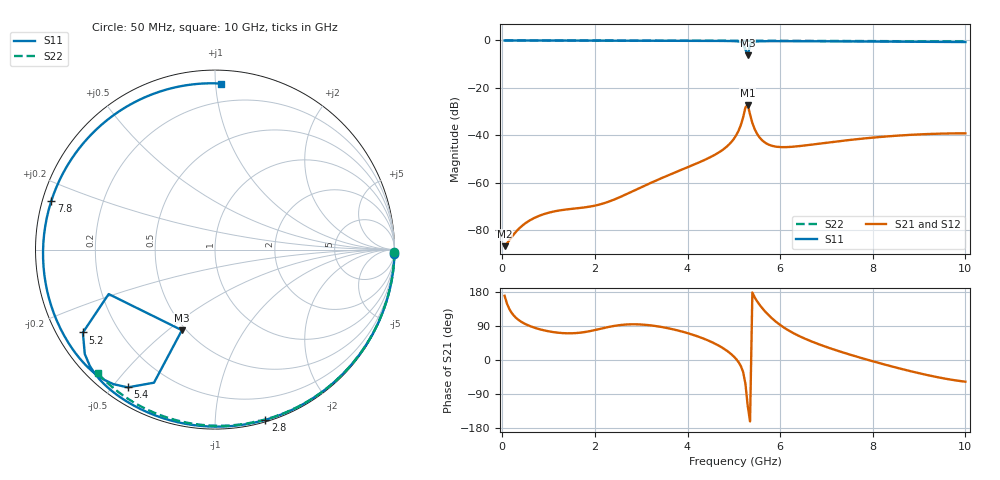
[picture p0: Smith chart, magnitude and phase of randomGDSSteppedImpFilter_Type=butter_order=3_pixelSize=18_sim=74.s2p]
! freq	dB(S11)	phase(S11)	dB(S12)	phase(S12)
!  dB(S21)	phase(S21)	dB(S22)	phase(S22)
!S-par simulation data
#  GHz  S  DB  R 50
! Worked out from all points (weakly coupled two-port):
!   200 points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, 50 MHz to 10 GHz, reference 50 ohm
!   highest |S21| = -27.13 dB at 5.3 GHz (marker M1); lowest = -86.7 dB at 50 MHz (marker M2)
!   lowest |S11| = -6.3 dB at 5.3 GHz (marker M3), VSWR 2.89, Z = 23.8 - j28 ohm
!   |S11| at or under -10 dB: nowhere
!   |S22| runs from -0.5 to 0.0 dB; largest |S21 - S12| = 0
!   S11 on the Smith chart (normalised r, x): 50 MHz: 0, -84; 2.8 GHz: 0.02, -1.34; 5.2 GHz: 0.08, -0.29; 5.4 GHz: 0.06, -0.55; 7.8 GHz: 0.03, +0.15; 10 GHz: 0.08, +1.03
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0.05  -0.00 -1.4  -86.67 169.5  -86.67 169.5  -0.00 -0.8
0.3  -0.00 -8.2  -80.49 110.8  -80.49 110.8  -0.00 -4.6
0.95  -0.03 -25.7  -72.85 76.9  -72.85 76.9  -0.02 -14.6
1.75  -0.06 -46.7  -70.40 73.2  -70.40 73.2  -0.03 -26.6
2.25  -0.08 -59.6  -68.24 86.0  -68.24 86.0  -0.04 -34.0
2.8  -0.09 -73.6  -63.68 94.2  -63.68 94.2  -0.05 -42.1
3.4  -0.12 -88.5  -58.34 87.9  -58.34 87.9  -0.07 -50.7
4.6  -0.18 -118.9  -48.06 42.7  -48.06 42.7  -0.10 -67.3
4.85  -0.22 -126.2  -44.68 24.4  -44.68 24.4  -0.11 -70.7
5.05  -0.34 -134.1  -39.97 2.5  -39.97 2.5  -0.11 -73.3
5.2  -1.22 -147.9  -32.43 -31.4  -32.43 -31.4  -0.12 -75.4
5.25  -3.85 -157.3  -28.23 -62.5  -28.23 -62.5  -0.14 -76.1
5.3  -6.28 -112.3  -27.13 -121.4  -27.13 -121.4  -0.16 -76.5
5.35  -1.77 -114.6  -31.17 -162.2  -31.17 -162.2  -0.14 -77.1
5.4  -0.83 -122.3  -34.76 178.1  -34.76 178.1  -0.13 -77.8
5.55  -0.36 -132.9  -40.73 146.6  -40.73 146.6  -0.13 -79.8
5.8  -0.29 -141.8  -44.25 112.5  -44.25 112.5  -0.14 -83.0
6.7  -0.33 -166.3  -43.84 47.9  -43.84 47.9  -0.18 -94.4
7.8  -0.43 163.4  -41.31 3.6  -41.31 3.6  -0.25 -107.8
8.35  -0.49 146.8  -40.36 -15.0  -40.36 -15.0  -0.29 -114.3
9.25  -0.59 116.7  -39.38 -41.7  -39.38 -41.7  -0.37 -124.7
10  -0.67 88.1  -39.13 -57.2  -39.13 -57.2  -0.45 -133.4
